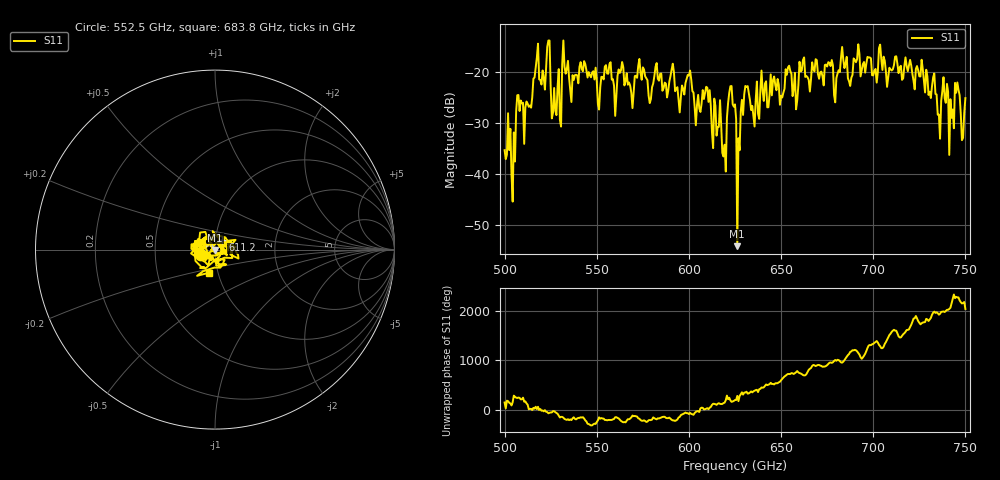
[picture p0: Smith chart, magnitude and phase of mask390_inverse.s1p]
!Created with skrf (http://scikit-rf.org).
# GHz S MA R 50.0
!freq magS11 angS11
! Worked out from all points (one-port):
!   401 points, 500 GHz to 750 GHz, reference 50 ohm
!   lowest |S11| = -54.1 dB at 626.2 GHz (marker M1), VSWR 1.00, Z = 50.1 - j0.187 ohm
!   |S11| at or under -10 dB: start of sweep to end of sweep
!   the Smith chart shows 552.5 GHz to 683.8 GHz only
!   S11 on the Smith chart (normalised r, x): 552.5 GHz: 0.85, -0.06; 611.2 GHz: 1.08, +0.11; 683.8 GHz: 0.91, -0.24
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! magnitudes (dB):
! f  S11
! 500 GHz  -35.3
! 504.4 GHz  -45.4
! 507.5 GHz  -24.5
! 511.9 GHz  -25.7
! 516.9 GHz  -19.1
! 523.8 GHz  -13.8
! 526.9 GHz  -23.1
! 531.2 GHz  -18.4
! 552.5 GHz  -20.9
! 562.5 GHz  -20.1
! 593.8 GHz  -22.9
! 600 GHz  -20.7
! 604.4 GHz  -26.5
! 611.2 GHz  -23.5
! 618.8 GHz  -36.5
! 623.1 GHz  -22.7
! 625 GHz  -26.3
! 626.2 GHz  -54.1
! 631.2 GHz  -22.9
! 635 GHz  -28.5
! 656.2 GHz  -24.7
! 680 GHz  -21.1
! 683.8 GHz  -17.5
! 687.5 GHz  -22.7
! 691.2 GHz  -17.4
! 718.8 GHz  -19.8
! 735.6 GHz  -28.3
! 750 GHz  -25.1
